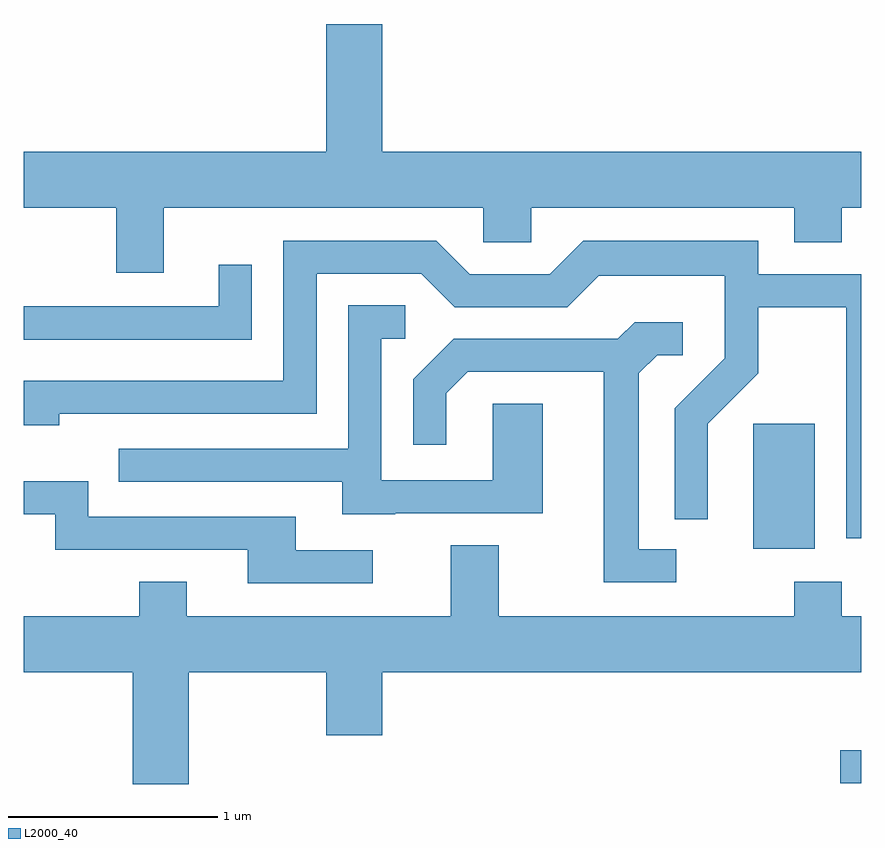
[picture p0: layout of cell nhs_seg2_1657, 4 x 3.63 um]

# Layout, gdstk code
import gdstk
lib = gdstk.Library(unit=1e-6, precision=1e-09)
def R(c, l, rs):  # rectangles x0, y0, x1, y1
    for r in rs: c.add(gdstk.rectangle(r[:2], r[2:], *l))
def P(c, l, *ps):  # polygons
    for p in ps: c.add(gdstk.Polygon(p, *l))
L2000_40 = (2000, 40)

nhs_seg2_1657 = lib.new_cell('nhs_seg2_1657')
R(nhs_seg2_1657, L2000_40, [(237.513,1027.806,237.611,1027.964), (237.096,1028.926,237.389,1029.524)])
P(nhs_seg2_1657, L2000_40, [(234.279,1030.556),(235.806,1030.556),(235.806,1030.391),(236.034,1030.391),(236.034,1030.556),(237.291,1030.556),(237.291,1030.391),(237.519,1030.391),(237.519,1030.556),(237.611,1030.556),(237.611,1030.824),(235.324,1030.824),(235.324,1031.434),(235.056,1031.434),(235.056,1030.824),(233.611,1030.824),(233.611,1030.556),(234.051,1030.556),(234.051,1030.246),(234.279,1030.246)],
  [(237.611,1030.239),(237.119,1030.239),(237.119,1030.399),(236.284,1030.399),(236.124,1030.239),(235.742,1030.239),(235.582,1030.399),(234.851,1030.399),(234.851,1029.729),(233.611,1029.729),(233.611,1029.516),(233.779,1029.516),(233.779,1029.571),(235.009,1029.571),(235.009,1030.241),(235.509,1030.241),(235.669,1030.081),(236.207,1030.081),(236.357,1030.231),(236.961,1030.231),(236.961,1029.837),(236.721,1029.597),(236.721,1029.068),(236.879,1029.068),(236.879,1029.524),(237.119,1029.764),(237.119,1030.081),(237.541,1030.081),(237.541,1028.976),(237.611,1028.976)],
  [(234.699,1030.283),(234.541,1030.283),(234.541,1030.084),(233.611,1030.084),(233.611,1029.926),(234.699,1029.926)],
  [(235.385,1029.096),(236.089,1029.096),(236.089,1029.619),(235.851,1029.619),(235.851,1029.254),(235.319,1029.254),(235.319,1029.931),(235.433,1029.931),(235.433,1030.089),(235.161,1030.089),(235.161,1029.404),(234.063,1029.404),(234.063,1029.246),(235.131,1029.246),(235.131,1029.091),(235.385,1029.091)],
  [(236.728,1028.924),(236.549,1028.924),(236.549,1029.764),(236.637,1029.851),(236.758,1029.851),(236.758,1030.009),(236.529,1030.009),(236.449,1029.929),(235.664,1029.929),(235.471,1029.737),(235.471,1029.423),(235.629,1029.423),(235.629,1029.669),(235.732,1029.771),(236.381,1029.771),(236.381,1028.766),(236.728,1028.766)],
  [(235.278,1028.919),(234.909,1028.919),(234.909,1029.079),(233.919,1029.079),(233.919,1029.249),(233.611,1029.249),(233.611,1029.091),(233.761,1029.091),(233.761,1028.921),(234.681,1028.921),(234.681,1028.761),(235.278,1028.761)],
  [(234.399,1028.336),(235.056,1028.336),(235.056,1028.036),(235.324,1028.036),(235.324,1028.336),(237.611,1028.336),(237.611,1028.604),(237.519,1028.604),(237.519,1028.769),(237.291,1028.769),(237.291,1028.604),(235.879,1028.604),(235.879,1028.944),(235.651,1028.944),(235.651,1028.604),(234.389,1028.604),(234.389,1028.769),(234.161,1028.769),(234.161,1028.604),(233.611,1028.604),(233.611,1028.336),(234.131,1028.336),(234.131,1027.802),(234.399,1027.802)])

lib.write_gds('nhs_seg2_1657.gds')
